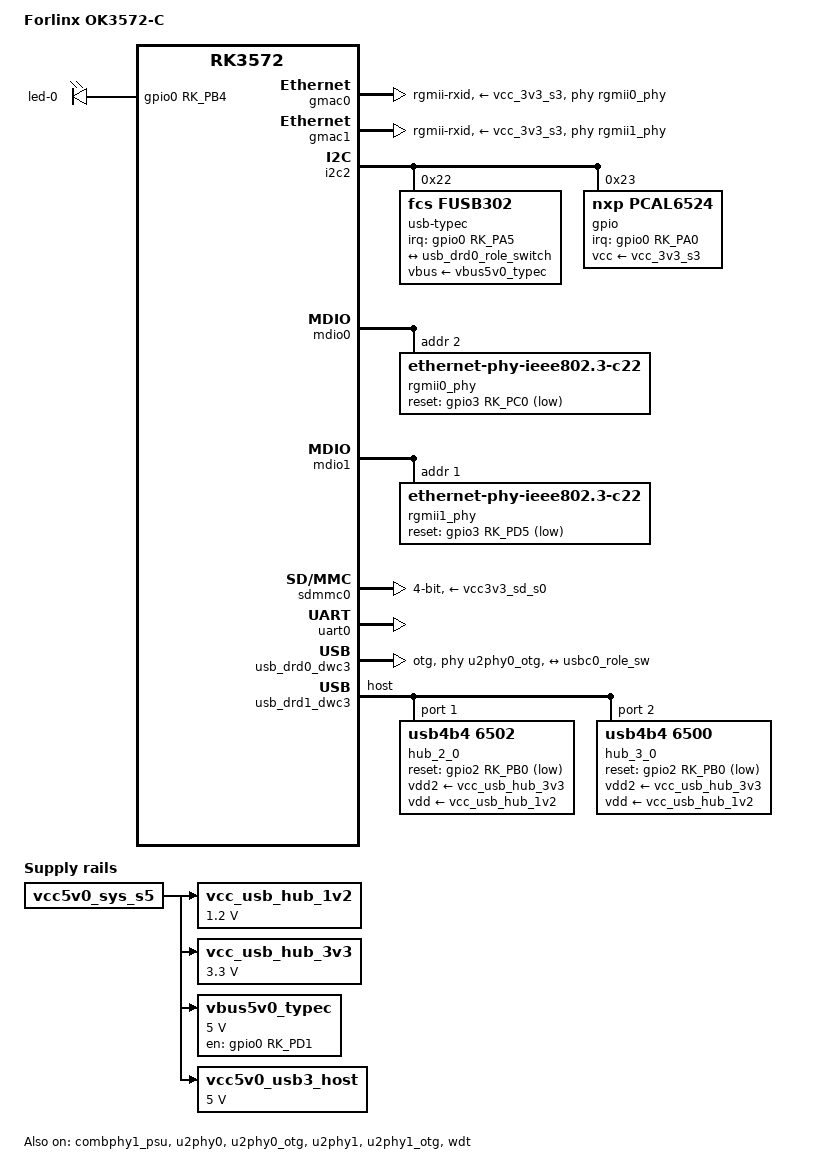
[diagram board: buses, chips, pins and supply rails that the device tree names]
// SPDX-License-Identifier: (GPL-2.0+ OR MIT)
/*
 * Copyright (c) 2025 Forlinx Embedded Tech. Co., Ltd
 * Copyright (c) 2026 Cunhao Lu <1579567540@qq.com>
 */

/dts-v1/;

#include <dt-bindings/leds/common.h>
#include <dt-bindings/usb/pd.h>
#include "rk3572-forlinx-fet3572-c.dtsi"

/ {
	compatible = "forlinx,ok3572-c", "forlinx,fet3572-c", "rockchip,rk3572";
	model = "Forlinx OK3572-C";

	aliases {
		ethernet0 = &gmac0;
		ethernet1 = &gmac1;
		mmc0 = &sdhci;
		mmc1 = &sdmmc0;
	};

	chosen {
		stdout-path = "serial0:1500000n8";
	};

	leds {
		compatible = "gpio-leds";
		pinctrl-0 = <&work_led_gpio>;
		pinctrl-names = "default";

		led-0 {
			function = LED_FUNCTION_STATUS;
			gpios = <&gpio0 RK_PB4 GPIO_ACTIVE_HIGH>;
			linux,default-trigger = "heartbeat";
		};
	};

	vcc_usb_hub_1v2: regulator-usb-hub-1v2 {
		compatible = "regulator-fixed";
		regulator-always-on;
		regulator-max-microvolt = <1200000>;
		regulator-min-microvolt = <1200000>;
		regulator-name = "vcc_usb_hub_1v2";
		vin-supply = <&vcc5v0_sys_s5>;
	};

	vcc_usb_hub_3v3: regulator-usb-hub-3v3 {
		compatible = "regulator-fixed";
		regulator-always-on;
		regulator-max-microvolt = <3300000>;
		regulator-min-microvolt = <3300000>;
		regulator-name = "vcc_usb_hub_3v3";
		vin-supply = <&vcc5v0_sys_s5>;
	};

	vbus5v0_typec: regulator-vbus5v0-typec {
		compatible = "regulator-fixed";
		enable-active-high;
		gpio = <&gpio0 RK_PD1 GPIO_ACTIVE_HIGH>;
		pinctrl-0 = <&usb_drd0_pwren>;
		pinctrl-names = "default";
		regulator-max-microvolt = <5000000>;
		regulator-min-microvolt = <5000000>;
		regulator-name = "vbus5v0_typec";
		vin-supply = <&vcc5v0_sys_s5>;
	};

	vcc5v0_usb3_host: regulator-vcc5v0-usb3-host {
		compatible = "regulator-fixed";
		regulator-always-on;
		regulator-boot-on;
		regulator-max-microvolt = <5000000>;
		regulator-min-microvolt = <5000000>;
		regulator-name = "vcc5v0_usb3_host";
		vin-supply = <&vcc5v0_sys_s5>;
	};
};

&combphy1_psu {
	status = "okay";
};

&gmac0 {
	clock_in_out = "output";
	phy-handle = <&rgmii0_phy>;
	phy-mode = "rgmii-rxid"; /* Schematic adds a 2ns delay to RX_CLK */
	phy-supply = <&vcc_3v3_s3>;
	pinctrl-0 = <&eth0_miim_pins &eth0_tx_bus2_pins &eth0_rx_bus2_pins
		    &eth0_rgmii_clk_pins &eth0_rgmii_bus_pins>;
	pinctrl-names = "default";
	tx_delay = <0x21>;

	status = "okay";
};

&gmac1 {
	clock_in_out = "output";
	phy-handle = <&rgmii1_phy>;
	phy-mode = "rgmii-rxid"; /* Schematic adds a 2ns delay to RX_CLK */
	phy-supply = <&vcc_3v3_s3>;
	pinctrl-0 = <&eth1m0_miim_pins &eth1m0_tx_bus2_pins &eth1m0_rx_bus2_pins
		    &eth1m0_rgmii_clk_pins &eth1m0_rgmii_bus_pins>;
	pinctrl-names = "default";
	tx_delay = <0x20>;

	status = "okay";
};

&i2c2 {
	status = "okay";

	usb-typec@22 {
		compatible = "fcs,fusb302";
		reg = <0x22>;
		interrupt-parent = <&gpio0>;
		interrupts = <RK_PA5 IRQ_TYPE_LEVEL_LOW>;
		pinctrl-0 = <&usbc0_int>;
		pinctrl-names = "default";
		vbus-supply = <&vbus5v0_typec>;

		connector {
			compatible = "usb-c-connector";
			data-role = "dual";
			label = "USB-C";
			op-sink-microwatt = <1000000>;
			power-role = "dual";
			sink-pdos = <PDO_FIXED(5000, 1000, PDO_FIXED_USB_COMM)>;
			source-pdos =
				<PDO_FIXED(5000, 3000, PDO_FIXED_USB_COMM)>;
			try-power-role = "sink";

			port {
				usbc0_role_sw: endpoint {
					remote-endpoint =
						<&usb_drd0_role_switch>;
				};
			};
		};
	};

	gpio@23 {
		compatible = "nxp,pcal6524";
		reg = <0x23>;
		#gpio-cells = <2>;
		gpio-controller;
		#interrupt-cells = <2>;
		interrupt-controller;
		interrupt-parent = <&gpio0>;
		interrupts = <RK_PA0 IRQ_TYPE_EDGE_FALLING>;
		pinctrl-0 = <&extio_int_gpio>;
		pinctrl-names = "default";
		vcc-supply = <&vcc_3v3_s3>;
	};
};

&mdio0 {
	rgmii0_phy: ethernet-phy@2 {
		compatible = "ethernet-phy-ieee802.3-c22";
		reg = <2>;
		reset-assert-us = <20000>;
		reset-deassert-us = <100000>;
		reset-gpios = <&gpio3 RK_PC0 GPIO_ACTIVE_LOW>;
	};
};

&mdio1 {
	rgmii1_phy: ethernet-phy@1 {
		compatible = "ethernet-phy-ieee802.3-c22";
		reg = <1>;
		reset-assert-us = <20000>;
		reset-deassert-us = <100000>;
		reset-gpios = <&gpio3 RK_PD5 GPIO_ACTIVE_LOW>;
	};
};

&pinctrl {
	extio {
		extio_int_gpio: extio-int {
			rockchip,pins = <0 RK_PA0 RK_FUNC_GPIO &pcfg_pull_up>;
		};
	};

	leds {
		work_led_gpio: work-led {
			rockchip,pins = <0 RK_PB4 RK_FUNC_GPIO &pcfg_pull_none>;
		};
	};

	usb {
		usb_drd0_pwren: usb-drd0-pwren {
			rockchip,pins = <0 RK_PD1 RK_FUNC_GPIO &pcfg_pull_none>;
		};

		usbc0_int: usbc0-int {
			rockchip,pins = <0 RK_PA5 RK_FUNC_GPIO &pcfg_pull_up>;
		};
	};
};

&sdmmc0 {
	bus-width = <4>;
	cap-sd-highspeed;
	disable-wp;
	max-frequency = <200000000>;
	no-mmc;
	no-sdio;
	pinctrl-0 = <&sdmmc0m0_bus4_pins &sdmmc0m0_clk_pins &sdmmc0m0_cmd_pins
		    &sdmmc0m0_det_pins &sdmmc0_pwren_pins>;
	sd-uhs-sdr104;
	vmmc-supply = <&vcc3v3_sd_s0>;
	vqmmc-supply = <&vccio_sd_s0>;

	status = "okay";
};

&u2phy0 {
	status = "okay";
};

&u2phy0_otg {
	status = "okay";
};

&u2phy1 {
	status = "okay";
};

&u2phy1_otg {
	phy-supply = <&vcc5v0_usb3_host>;

	status = "okay";
};

&uart0 {
	status = "okay";
};

&usb_drd0_dwc3 {
	dr_mode = "otg";
	maximum-speed = "high-speed";
	phys = <&u2phy0_otg>;
	phy-names = "usb2-phy";
	usb-role-switch;
	snps,dis_u2_susphy_quirk;
	snps,usb2-lpm-disable;

	status = "okay";

	port {
		usb_drd0_role_switch: endpoint {
			remote-endpoint = <&usbc0_role_sw>;
		};
	};
};

&usb_drd1_dwc3 {
	#address-cells = <1>;
	dr_mode = "host";
	#size-cells = <0>;

	status = "okay";

	hub_2_0: hub@1 {
		compatible = "usb4b4,6502", "usb4b4,6506";
		reg = <1>;
		peer-hub = <&hub_3_0>;
		reset-gpios = <&gpio2 RK_PB0 GPIO_ACTIVE_LOW>;
		vdd2-supply = <&vcc_usb_hub_3v3>;
		vdd-supply = <&vcc_usb_hub_1v2>;
	};

	hub_3_0: hub@2 {
		compatible = "usb4b4,6500", "usb4b4,6504";
		reg = <2>;
		peer-hub = <&hub_2_0>;
		reset-gpios = <&gpio2 RK_PB0 GPIO_ACTIVE_LOW>;
		vdd2-supply = <&vcc_usb_hub_3v3>;
		vdd-supply = <&vcc_usb_hub_1v2>;
	};
};

&wdt {
	status = "okay";
};
